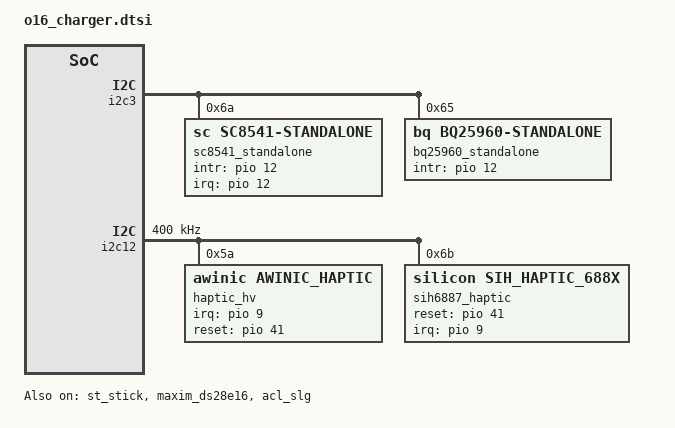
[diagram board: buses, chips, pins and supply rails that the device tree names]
&i2c3 {
    sc8541_standalone: sc8541@6A{
        compatible = "sc,sc8541-standalone";
        #io-channel-cells = <1>;
        reg = <0x6A>;

		interrupt-parent = <&pio>;
		interrupts = <12 0>;
		sc8541,intr_gpio = <&pio 12 IRQ_TYPE_EDGE_FALLING>;

		charger_name = "primary_dvchg";
		charger_name_v4_19 = "primary_divider_chg";
		sc,sc8541,vbat-ovp-dis = <0>;
		sc,sc8541,vbat-ovp = <90>; /*3840 + val * 10*/
		sc,sc8541,vbat-ovp-alm-dis = <1>;
		sc,sc8541,vbat-ovp-alm = <70>; /*3840 + val * 10*/
		sc,sc8541,ibat-ocp-dis = <0>;
		sc,sc8541,ibat-ocp  = <127>; /*val * 100*/
		sc,sc8541,ibat-ocp-alm-dis = <1>;
		sc,sc8541,ibat-ocp-alm = <80>; /*val * 100*/
		sc,sc8541,ibus-ucp-dis = <0>;
		sc,sc8541,vbus-in-range-dis = <0>;
		sc,sc8541,vbus-pd-en = <0>;
		sc,sc8541,vbus-ovp = <100>; /*7000 + val * 50*/
		sc,sc8541,vbus-ovp-alm-dis = <1>;
		sc,sc8541,vbus-ovp-alm = <100>; /*7000 + val * 50*/
		sc,sc8541,ibus-ocp-dis = <0>;
		sc,sc8541,ibus-ocp = <21>; /*1000 + val * 250*/
		sc,sc8541,tshut-dis = <1>;
		sc,sc8541,tsbus-flt-dis = <1>;
		sc,sc8541,tsbat-flt-dis = <1>;
		sc,sc8541,tdie-alm = <200>; /*25 + val * 0.5*/
		sc,sc8541,tsbus-flt = <21>;
		sc,sc8541,tsbat-flt = <21>;
		sc,sc8541,vac1-ovp = <3>; /*0:6.5V 1:10.5V 2:12V 3:14V 4:16V 5~7:18V*/
		sc,sc8541,vac2-ovp = <3>; /*0:6.5V 1:10.5V 2:12V 3:14V 4:16V 5~7:18V*/
		sc,sc8541,vac1-pd-en = <0>;
		sc,sc8541,vac2-pd-en = <0>;
		sc,sc8541,fsw-set = <4>; /*0:200KHz 1:300KHz 2:400KHz
				3:500KHz 4:600KHz 5:650KHz 6:700KHz 7:750KHz*/
		sc,sc8541,wd-timeout = <0>; /*0:0.5s 1:1s 2:5s 3:30s*/
		sc,sc8541,wd-timeout-dis = <1>;
		sc,sc8541,ibat-sns-r = <0>; /*0:2mho 1:5mho*/
		sc,sc8541,ss-timeout = <7>; /*0:6.25ms 1:12.5ms 2:25ms 3:50ms
				4:100ms 5:400ms 6:1.5s 7:10s*/
		sc,sc8541,ibus-ucp-fall-dg = <1>;
		sc,sc8541,vout-ovp-dis = <0>;
		sc,sc8541,vout-ovp = <3>; /*4700 + val * 100*/
		sc,sc8541,pmid2out-uvp = <7>; /*50 + val * 25*/
		sc,sc8541,pmid2out-ovp = <7>; /*200 + val * 50*/
    };

    bq25960_standalone: bq25960@65 {
        compatible = "bq,bq25960-standalone";
        #io-channel-cells = <1>;
        status = "ok";
        reg = <0x65>;

        bq25960,intr_gpio = <&pio 12 IRQ_TYPE_EDGE_FALLING>;

        charger_name = "primary_dvchg";
        bq,bq25960,vbat-ovp-dis = <0>;
        bq,bq25960,vbat-ovp = <127>; /*3500 + val * 10*/
        bq,bq25960,vbat-ovp-alm-dis = <1>;
        bq,bq25960,vbat-ovp-alm = <122>; /*3500 + val * 10*/
        bq,bq25960,ibat-ocp-dis = <0>;
        bq,bq25960,ibat-ocp  = <65>; /*2000 + val * 100*/
        bq,bq25960,ibat-ocp-alm-dis = <1>;
        bq,bq25960,ibat-ocp-alm = <65>; /*2000 + val * 100*/
        bq,bq25960,ibus-ucp-dis = <0>;
        bq,bq25960,ibus-ucp = <0>;
        bq,bq25960,chg-config-2 = <0>;
        bq,bq25960,vbus-pd-en = <0>;
        bq,bq25960,vbus-ovp = <100>; /*7000 + val * 50*/
        bq,bq25960,vbus-ovp-alm-dis = <1>;
        bq,bq25960,vbus-ovp-alm = <100>; /*7000 + val * 50*/
        /*bq,bq25960,ibus-ocp-dis = <0>;*/
        bq,bq25960,ibus-ocp = <21>; /*1000 + val * 250*/
        /*bq,bq25960,tshut-dis = <1>;*/
        bq,bq25960,tsbus-flt-dis = <1>;
        bq,bq25960,tsbat-flt-dis = <1>;
        bq,bq25960,tdie-alm = <200>; /*25 + val * 0.5*/
        bq,bq25960,tsbus-flt = <21>;
        bq,bq25960,tsbat-flt = <21>;
        bq,bq25960,vac1-ovp = <3>; /*0:6.5V 1:10.5V 2:12V 3:14V 4:16V 5~7:18V*/
        bq,bq25960,vac2-ovp = <3>; /*0:6.5V 1:10.5V 2:12V 3:14V 4:16V 5~7:18V*/
        bq,bq25960,vac1-pd-en = <0>;
        bq,bq25960,vac2-pd-en = <0>;
        bq,bq25960,fsw-set = <4>; /*0:187.5KHz 1:250KHz 2:300KHz
                                    3:375KHz 4:500KHz 5:750KHz */
        bq,bq25960,wd-timeout = <0>; /*0:0.5s 1:1s 2:5s 3:30s*/
        bq,bq25960,wd-timeout-dis = <1>;
        bq,bq25960,ibat-sns-r = <0>; /*0:2mho 1:5mho*/
        bq,bq25960,ss-timeout = <7>; /*0:6.25ms 1:12.5ms 2:25ms 3:50ms
                4:100ms 5:400ms 6:1.5s 7:10s*/
        bq,bq25960,ibus-ucp-fall-dg = <1>; /*0:0.01ms, 1:5ms, 2:50ms, 3:150ms*/
        bq,bq25960,vout-ovp-dis = <0>;
        bq,bq25960,ms = <0>;
        bq,bq25960,vout-ovp = <3>; /*4700 + val * 100*/
        /*bq,bq25960,pmid2out-uvp = <7>;*/ /*50 + val * 25*/
        /*bq,bq25960,pmid2out-ovp = <7>; */ /*150 + val * 50*/
    };

};

&pe {
	compatible = "mediatek,charger,pe";
    status = "disabled";
};

&pe2 {
    compatible = "mediatek,charger,pe2";
    status = "disabled";
};

&pdc {
    compatible = "mediatek,charger,pd";
    status = "disabled";
};

&pe45 {
    compatible = "mediatek,charger,pe45";
    status = "disabled";
};

&pe5 {
    compatible = "mediatek,charger,pe5";
    status = "disabled";
};

&pe5p {
    compatible = "mediatek,charger,pe5p";
    status = "disabled";
};

&charger {
		max_charger_voltage = <11000000>;
		fv = <4500>;
		fv_normal = <4480>;
		fv_ffc = <4530>;
		iterm = <250>;
		iterm_warm = <250>;
		iterm_warm_cn = <270>;
		/* charging current */
		usb_charger_current = <500000>;
		ac_charger_current = <1600000>;
		ac_charger_input_current = <1600000>;
		charging_host_charger_current = <1500000>;
		ffc_low_tbat = <150>;
		ffc_medium_tbat = <300>;
		ffc_warm_tbat = <350>;
		ffc_little_high_tbat = <400>;
		ffc_high_tbat = <450>;
		ffc_high_soc = <90>;
		step_fallback_hyst = <25>;
		step_forward_hyst = <5>;
		jeita_fallback_hyst = <10>;
		jeita_forward_hyst = <0>;
		mt6369_moscon1_control;
		en_floatgnd;
		rust_support;

		min_charger_voltage_1 = <4600000>;
		min_charger_voltage_2 = <4500000>;

		/* battery temperature protection */
		//enable-min-charge-temp;
		min-charge-temp = <(-10)>;
		min-charge-temp-plus-x-degree = <(-8)>;
		max-charge-temp = <58>;
		max-charge-temp-minus-x-degree = <56>;

		jeita_fcc_cfg_gl = <(-100)	(-1)	4500	503	503
				0	49	4150	1006	1006
				50	99	4150	2515	2515
				100	149	4150	4024	4024
				150	449	4150	8000	5400
				450	599	4100	2515	2515>;
		jeita_fcc_cfg_cn = <(-100)	(-1)	4500	542	542
				0	49	4150	1084	1084
				50	99	4150	2660	2660
				100	149	4150	4286	4286
				150	449	4150	7950	5400
				450	599	4100	2710	2710>;
		jeita_fv_cfg = <(-100)	(-1)	4500
				0	49	4500
				50	99	4500
				100	149	4500
				150	449	4530
				450	599	4100>;
		/* 1-100cls */
		step_chg_cfg_1_cycle = <3000	4150	8000
					4151	4300	6000
					4301	4500	5400
					4501	4530	4336>;
		step_chg_cfg_1_cycle_gl = <3000	4150	8000
					4151	4300	6000
					4301	4500	5400
					4501	4530	4024>;
		iterm_ffc_1_cycle_0 = <758>;
		iterm_ffc_little_warm_1_cycle_0 = <1084>;
		iterm_ffc_warm_1_cycle_0 = <1219>;
		iterm_ffc_hot_1_cycle_0 = <1355>;
		iterm_ffc_1_cycle_1 = <867>;
		iterm_ffc_little_warm_1_cycle_1 = <1246>;
		iterm_ffc_warm_1_cycle_1 = <1490>;
		iterm_ffc_hot_1_cycle_1 = <1734>;
		iterm_ffc_1_cycle_2 = <754>;
		iterm_ffc_little_warm_1_cycle_2 = <1157>;
		iterm_ffc_warm_1_cycle_2 = <1257>;
		iterm_ffc_hot_1_cycle_2 = <1358>;
		iterm_ffc_1_cycle_3 = <855>;
		iterm_ffc_little_warm_1_cycle_3 = <1258>;
		iterm_ffc_warm_1_cycle_3 = <1458>;
		iterm_ffc_hot_1_cycle_3 = <1659>;
		/* 100-200cls */
		step_chg_cfg_100_cycle = <3000	4100	8000
					4101	4250	6000
					4251	4450	5400
					4451	4530	4336>;
		step_chg_cfg_100_cycle_gl = <3000	4100	8000
					4101	4250	6000
					4251	4450	5400
					4451	4530	4024>;
		iterm_ffc_100_cycle_0 = <758>;
		iterm_ffc_little_warm_100_cycle_0 = <921>;
		iterm_ffc_warm_100_cycle_0 = <1138>;
		iterm_ffc_hot_100_cycle_0 = <1355>;
		iterm_ffc_100_cycle_1 = <1084>;
		iterm_ffc_little_warm_100_cycle_1 = <1246>;
		iterm_ffc_warm_100_cycle_1 = <1490>;
		iterm_ffc_hot_100_cycle_1 = <1734>;
		iterm_ffc_100_cycle_2 = <804>;
		iterm_ffc_little_warm_100_cycle_2 = <1006>;
		iterm_ffc_warm_100_cycle_2 = <1182>;
		iterm_ffc_hot_100_cycle_2 = <1358>;
		iterm_ffc_100_cycle_3 = <1056>;
		iterm_ffc_little_warm_100_cycle_3 = <1258>;
		iterm_ffc_warm_100_cycle_3 = <1458>;
		iterm_ffc_hot_100_cycle_3 = <1659>;
		/* 200-300cls */
		step_chg_cfg_200_cycle = <3000	4100	8000
					4101	4250	6000
					4251	4450	5400
					4451	4530	4336>;
		step_chg_cfg_200_cycle_gl = <3000	4100	8000
					4101	4250	6000
					4251	4450	5400
					4451	4530	4024>;
		iterm_ffc_200_cycle_0 = <704>;
		iterm_ffc_little_warm_200_cycle_0 = <813>;
		iterm_ffc_warm_200_cycle_0 = <975>;
		iterm_ffc_hot_200_cycle_0 = <1138>;
		iterm_ffc_200_cycle_1 = <1030>;
		iterm_ffc_little_warm_200_cycle_1 = <1084>;
		iterm_ffc_warm_200_cycle_1 = <1327>;
		iterm_ffc_hot_200_cycle_1 = <1571>;
		iterm_ffc_200_cycle_2 = <704>;
		iterm_ffc_little_warm_200_cycle_2 = <855>;
		iterm_ffc_warm_200_cycle_2 = <980>;
		iterm_ffc_hot_200_cycle_2 = <1106>;
		iterm_ffc_200_cycle_3 = <905>;
		iterm_ffc_little_warm_200_cycle_3 = <1107>;
		iterm_ffc_warm_200_cycle_3 = <1358>;
		iterm_ffc_hot_200_cycle_3 = <1610>;
		/* 300-400cls */
		step_chg_cfg_300_cycle = <3000	4070	8000
					4071	4220	6000
					4221	4420	5400
					4421	4530	4336>;
		step_chg_cfg_300_cycle_gl = <3000	4070	8000
					4071	4220	6000
					4221	4420	5400
					4421	4530	4024>;
		iterm_ffc_300_cycle_0 = <650>;
		iterm_ffc_little_warm_300_cycle_0 = <758>;
		iterm_ffc_warm_300_cycle_0 = <948>;
		iterm_ffc_hot_300_cycle_0 = <1138>;
		iterm_ffc_300_cycle_1 = <867>;
		iterm_ffc_little_warm_300_cycle_1 = <1084>;
		iterm_ffc_warm_300_cycle_1 = <1327>;
		iterm_ffc_hot_300_cycle_1 = <1571>;
		iterm_ffc_300_cycle_2 = <653>;
		iterm_ffc_little_warm_300_cycle_2 = <804>;
		iterm_ffc_warm_300_cycle_2 = <955>;
		iterm_ffc_hot_300_cycle_2 = <1106>;
		iterm_ffc_300_cycle_3 = <805>;
		iterm_ffc_little_warm_300_cycle_3 = <1056>;
		iterm_ffc_warm_300_cycle_3 = <1333>;
		iterm_ffc_hot_300_cycle_3 = <1610>;
		/* 400-500cls */
		step_chg_cfg_400_cycle = <3000	4070	8000
					4071	4220	6000
					4221	4420	5400
					4421	4530	4336>;
		step_chg_cfg_400_cycle_gl = <3000	4070	8000
					4071	4220	6000
					4221	4420	5400
					4421	4530	4024>;
		iterm_ffc_400_cycle_0 = <596>;
		iterm_ffc_little_warm_400_cycle_0 = <704>;
		iterm_ffc_warm_400_cycle_0 = <840>;
		iterm_ffc_hot_400_cycle_0 = <1192>;
		iterm_ffc_400_cycle_1 = <813>;
		iterm_ffc_little_warm_400_cycle_1 = <976>;
		iterm_ffc_warm_400_cycle_1 = <1247>;
		iterm_ffc_hot_400_cycle_1 = <1680>;
		iterm_ffc_400_cycle_2 = <603>;
		iterm_ffc_little_warm_400_cycle_2 = <754>;
		iterm_ffc_warm_400_cycle_2 = <855>;
		iterm_ffc_hot_400_cycle_2 = <1207>;
		iterm_ffc_400_cycle_3 = <754>;
		iterm_ffc_little_warm_400_cycle_3 = <1006>;
		iterm_ffc_warm_400_cycle_3 = <1182>;
		iterm_ffc_hot_400_cycle_3 = <1459>;
		/* 500-600cls */
		step_chg_cfg_500_cycle = <3000	4070	8000
					4071	4220	6000
					4221	4420	5400
					4421	4530	4336>;
		step_chg_cfg_500_cycle_gl = <3000	4070	8000
					4071	4220	6000
					4221	4420	5400
					4421	4530	4024>;
		iterm_ffc_500_cycle_0 = <596>;
		iterm_ffc_little_warm_500_cycle_0 = <650>;
		iterm_ffc_warm_500_cycle_0 = <813>;
		iterm_ffc_hot_500_cycle_0 = <1355>;
		iterm_ffc_500_cycle_1 = <758>;
		iterm_ffc_little_warm_500_cycle_1 = <921>;
		iterm_ffc_warm_500_cycle_1 = <1219>;
		iterm_ffc_hot_500_cycle_1 = <1734>;
		iterm_ffc_500_cycle_2 = <553>;
		iterm_ffc_little_warm_500_cycle_2 = <704>;
		iterm_ffc_warm_500_cycle_2 = <829>;
		iterm_ffc_hot_500_cycle_2 = <1358>;
		iterm_ffc_500_cycle_3 = <704>;
		iterm_ffc_little_warm_500_cycle_3 = <955>;
		iterm_ffc_warm_500_cycle_3 = <1156>;
		iterm_ffc_hot_500_cycle_3 = <1659>;
		/* 600-700cls */
		step_chg_cfg_600_cycle = <3000	4070	8000
					4071	4220	6000
					4221	4420	5400
					4421	4530	4336>;
		step_chg_cfg_600_cycle_gl = <3000	4070	8000
					4071	4220	6000
					4221	4420	5400
					4421	4530	4024>;
		iterm_ffc_600_cycle_0 = <542>;
		iterm_ffc_little_warm_600_cycle_0 = <650>;
		iterm_ffc_warm_600_cycle_0 = <1029>;
		iterm_ffc_hot_600_cycle_0 = <1355>;
		iterm_ffc_600_cycle_1 = <704>;
		iterm_ffc_little_warm_600_cycle_1 = <867>;
		iterm_ffc_warm_600_cycle_1 = <1327>;
		iterm_ffc_hot_600_cycle_1 = <1734>;
		iterm_ffc_600_cycle_2 = <511>;
		iterm_ffc_little_warm_600_cycle_2 = <704>;
		iterm_ffc_warm_600_cycle_2 = <1081>;
		iterm_ffc_hot_600_cycle_2 = <1358>;
		iterm_ffc_600_cycle_3 = <653>;
		iterm_ffc_little_warm_600_cycle_3 = <905>;
		iterm_ffc_warm_600_cycle_3 = <1232>;
		iterm_ffc_hot_600_cycle_3 = <1659>;
		/* 700-800cls */
		step_chg_cfg_700_cycle = <3000	4070	8000
					4071	4220	6000
					4221	4420	5400
					4421	4530	4336>;
		step_chg_cfg_700_cycle_gl = <3000	4070	8000
					4071	4220	6000
					4221	4420	5400
					4421	4530	4024>;
		iterm_ffc_700_cycle_0 = <542>;
		iterm_ffc_little_warm_700_cycle_0 = <596>;
		iterm_ffc_warm_700_cycle_0 = <1219>;
		iterm_ffc_hot_700_cycle_0 = <1355>;
		iterm_ffc_700_cycle_1 = <704>;
		iterm_ffc_little_warm_700_cycle_1 = <867>;
		iterm_ffc_warm_700_cycle_1 = <1490>;
		iterm_ffc_hot_700_cycle_1 = <1734>;
		iterm_ffc_700_cycle_2 = <511>;
		iterm_ffc_little_warm_700_cycle_2 = <653>;
		iterm_ffc_warm_700_cycle_2 = <1257>;
		iterm_ffc_hot_700_cycle_2 = <1358>;
		iterm_ffc_700_cycle_3 = <653>;
		iterm_ffc_little_warm_700_cycle_3 = <905>;
		iterm_ffc_warm_700_cycle_3 = <1458>;
		iterm_ffc_hot_700_cycle_3 = <1659>;
		/* 800-900cls */
		step_chg_cfg_800_cycle = <3000	4050	6400
					4051	4200	4800
					4201	4400	4320
					4401	4530	3648>;
		step_chg_cfg_800_cycle_gl = <3000	4050	6400
					4051	4200	4800
					4201	4400	4320
					4401	4530	3219>;
		iterm_ffc_800_cycle_0 = <487>;
		iterm_ffc_little_warm_800_cycle_0 = <596>;
		iterm_ffc_warm_800_cycle_0 = <1219>;
		iterm_ffc_hot_800_cycle_0 = <1355>;
		iterm_ffc_800_cycle_1 = <650>;
		iterm_ffc_little_warm_800_cycle_1 = <813>;
		iterm_ffc_warm_800_cycle_1 = <1490>;
		iterm_ffc_hot_800_cycle_1 = <1734>;
		iterm_ffc_800_cycle_2 = <460>;
		iterm_ffc_little_warm_800_cycle_2 = <653>;
		iterm_ffc_warm_800_cycle_2 = <1257>;
		iterm_ffc_hot_800_cycle_2 = <1358>;
		iterm_ffc_800_cycle_3 = <603>;
		iterm_ffc_little_warm_800_cycle_3 = <855>;
		iterm_ffc_warm_800_cycle_3 = <1458>;
		iterm_ffc_hot_800_cycle_3 = <1659>;
		/* 900-1000cls */
		step_chg_cfg_900_cycle = <3000	4050	6400
					4051	4200	4800
					4201	4400	4320
					4401	4530	3648>;
		step_chg_cfg_900_cycle_gl = <3000	4050	6400
					4051	4200	4800
					4201	4400	4320
					4401	4530	3219>;
		iterm_ffc_900_cycle_0 = <487>;
		iterm_ffc_little_warm_900_cycle_0 = <596>;
		iterm_ffc_warm_900_cycle_0 = <1219>;
		iterm_ffc_hot_900_cycle_0 = <1355>;
		iterm_ffc_900_cycle_1 = <650>;
		iterm_ffc_little_warm_900_cycle_1 = <813>;
		iterm_ffc_warm_900_cycle_1 = <1490>;
		iterm_ffc_hot_900_cycle_1 = <1734>;
		iterm_ffc_900_cycle_2 = <460>;
		iterm_ffc_little_warm_900_cycle_2 = <653>;
		iterm_ffc_warm_900_cycle_2 = <1257>;
		iterm_ffc_hot_900_cycle_2 = <1358>;
		iterm_ffc_900_cycle_3 = <603>;
		iterm_ffc_little_warm_900_cycle_3 = <855>;
		iterm_ffc_warm_900_cycle_3 = <1458>;
		iterm_ffc_hot_900_cycle_3 = <1659>;
		/* 1000-1100cls */
		step_chg_cfg_1000_cycle = <3000	4050	6400
					4051	4200	4800
					4201	4400	4320
					4401	4530	3648>;
		step_chg_cfg_1000_cycle_gl = <3000	4050	6400
					4051	4200	4800
					4201	4400	4320
					4401	4530	3219>;
		iterm_ffc_1000_cycle_0 = <542>;
		iterm_ffc_little_warm_1000_cycle_0 = <758>;
		iterm_ffc_warm_1000_cycle_0 = <1219>;
		iterm_ffc_hot_1000_cycle_0 = <1355>;
		iterm_ffc_1000_cycle_1 = <704>;
		iterm_ffc_little_warm_1000_cycle_1 = <921>;
		iterm_ffc_warm_1000_cycle_1 = <1490>;
		iterm_ffc_hot_1000_cycle_1 = <1734>;
		iterm_ffc_1000_cycle_2 = <511>;
		iterm_ffc_little_warm_1000_cycle_2 = <754>;
		iterm_ffc_warm_1000_cycle_2 = <1257>;
		iterm_ffc_hot_1000_cycle_2 = <1358>;
		iterm_ffc_1000_cycle_3 = <653>;
		iterm_ffc_little_warm_1000_cycle_3 = <955>;
		iterm_ffc_warm_1000_cycle_3 = <1458>;
		iterm_ffc_hot_1000_cycle_3 = <1659>;
		/* 1100-1200cls */
		step_chg_cfg_1100_cycle = <3000	4050	6400
					4051	4200	4800
					4201	4400	4320
					4401	4530	3648>;
		step_chg_cfg_1100_cycle_gl = <3000	4050	6400
					4051	4200	4800
					4201	4400	4320
					4401	4530	3219>;
		iterm_ffc_1100_cycle_0 = <650>;
		iterm_ffc_little_warm_1100_cycle_0 = <867>;
		iterm_ffc_warm_1100_cycle_0 = <1219>;
		iterm_ffc_hot_1100_cycle_0 = <1355>;
		iterm_ffc_1100_cycle_1 = <758>;
		iterm_ffc_little_warm_1100_cycle_1 = <1084>;
		iterm_ffc_warm_1100_cycle_1 = <1490>;
		iterm_ffc_hot_1100_cycle_1 = <1734>;
		iterm_ffc_1100_cycle_2 = <603>;
		iterm_ffc_little_warm_1100_cycle_2 = <955>;
		iterm_ffc_warm_1100_cycle_2 = <1257>;
		iterm_ffc_hot_1100_cycle_2 = <1358>;
		iterm_ffc_1100_cycle_3 = <754>;
		iterm_ffc_little_warm_1100_cycle_3 = <1006>;
		iterm_ffc_warm_1100_cycle_3 = <1458>;
		iterm_ffc_hot_1100_cycle_3 = <1659>;

		/* 1200cls->> */
		step_chg_cfg_1200_cycle = <3000	4050	6400
					4051	4200	4800
					4201	4400	4320
					4401	4530	3648>;
		step_chg_cfg_1200_cycle_gl = <3000	4050	6400
					4051	4200	4800
					4201	4400	4320
					4401	4530	3219>;
		iterm_ffc_1200_cycle_0 = <758>;
		iterm_ffc_little_warm_1200_cycle_0 = <1084>;
		iterm_ffc_warm_1200_cycle_0 = <1219>;
		iterm_ffc_hot_1200_cycle_0 = <1355>;
		iterm_ffc_1200_cycle_1 = <867>;
		iterm_ffc_little_warm_1200_cycle_1 = <1246>;
		iterm_ffc_warm_1200_cycle_1 = <1490>;
		iterm_ffc_hot_1200_cycle_1 = <1734>;
		iterm_ffc_1200_cycle_2 = <754>;
		iterm_ffc_little_warm_1200_cycle_2 = <1157>;
		iterm_ffc_warm_1200_cycle_2 = <1257>;
		iterm_ffc_hot_1200_cycle_2 = <1358>;
		iterm_ffc_1200_cycle_3 = <855>;
		iterm_ffc_little_warm_1200_cycle_3 = <1258>;
		iterm_ffc_warm_1200_cycle_3 = <1458>;
		iterm_ffc_hot_1200_cycle_3 = <1659>;

		thermal_limit_dcp = <8000 7800 7600 7400 7200 7000
                		     6800 6600 6400 6200 6000 5800
                                     5600 5400 5200 5000 4800 4600
                                     4400 4200 4000 3800 3600 3400
                                     3200 3000 2800 2600 2400 2200
                                     2000 1800 1600 1400 1000 500>;
		thermal_limit_qc2 = <8000 7800 7600 7400 7200 7000
                		     6800 6600 6400 6200 6000 5800
                                     5600 5400 5200 5000 4800 4600
                                     4400 4200 4000 3800 3600 3400
                                     3200 3000 2800 2600 2400 2200
                                     2000 1800 1600 1400 1000 500>;
		thermal_limit_qc3_18w = <8000 7800 7600 7400 7200 7000
                		     6800 6600 6400 6200 6000 5800
                                     5600 5400 5200 5000 4800 4600
                                     4400 4200 4000 3800 3600 3400
                                     3200 3000 2800 2600 2400 2200
                                     2000 1800 1600 1400 1000 500>;
		thermal_limit_qc3_27w = <8000 7800 7600 7400 7200 7000
                		     6800 6600 6400 6200 6000 5800
                                     5600 5400 5200 5000 4800 4600
                                     4400 4200 4000 3800 3600 3400
                                     3200 3000 2800 2600 2400 2200
                                     2000 1800 1600 1400 1000 500>;
		thermal_limit_qc35 = <8000 7800 7600 7400 7200 7000
                		     6800 6600 6400 6200 6000 5800
                                     5600 5400 5200 5000 4800 4600
                                     4400 4200 4000 3800 3600 3400
                                     3200 3000 2800 2600 2400 2200
                                     2000 1800 1600 1400 1000 500>;
		thermal_limit_pd = <8000 7800 7600 7400 7200 7000
                		     6800 6600 6400 6200 6000 5800
                                     5600 5400 5200 5000 4800 4600
                                     4400 4200 4000 3800 3600 3400
                                     3200 3000 2800 2600 2400 2200
                                     2000 1800 1600 1400 1000 500>;
		smart_chg_lowfast_thermal = <320  330  340  350  360  370  380  390  395  400  410  420  425  430  440  450>;
		smart_chg_lowfast_current = <8000 8000 7000 7000 7000 7000 6000 6000 6000 5400 4600 4600 3600 3000 3000 3000>;
};

&pd_cp_manager {
		compatible = "pd_cp_manager";
		fv = <4492>;
		fv_ffc = <4542>;
		max_fcc = <7700>;
		max_vbus = <11000>;
		max_ibus = <4100>;
		fcc_low_hyst = <150>;
		fcc_high_hyst = <(-100)>;
		low_tbat = <100>;
		high_tbat = <480>;
		high_vbat = <4400>;
		high_soc = <95>;
		low_fcc = <2000>;
		cv_vbat = <4480>;
		cv_vbat_ffc = <4510>;
		cv_ibat = <1200>;
		min_pdo_vbus = <8000>;
		max_pdo_vbus = <11000>;
		//mt6375_control_gpio = <&pio 215 0x0>;
		//support_4_1_mode;
		switch1_1_enter = <2600>;
		switch1_1_exit = <3600>;
		switch2_1_enter = <6000>;
		switch2_1_exit = <7000>;
		pdm_ibus_gap = <600>;
};

&mt6375_typec {
	tcpc,en_floatgnd;
	/* 0:16x, 1:128x, 2:512x, 3:1024x */
	wd,wd0_tsleep = <1>;
	/* 0:400us, 1:1ms, 2:2ms, 3:4ms, 4:10ms, 5:40ms, 6:100ms, 7:400ms */
	wd,wd0_tdet = <3>;
	/* example wd0_tsleep = 512x, wd0_tdet = 4ms, wd0 polling time = 512*4ms */
};

	/* SI Haptic */
&pio {
		sih_reset_low: sih_reset_reset {
			pins_cmd_dat {
				pinmux = <PINMUX_GPIO41__FUNC_GPIO41>;
				drive-strength = <2>;
				bias-disable;
				output-low;
			};
		};
		sih_reset_high: sih_reset_active {
			pins_cmd_dat {
				pinmux = <PINMUX_GPIO41__FUNC_GPIO41>;
				drive-strength = <2>;
				bias-disable;
				output-high;
			};
		};
		sih_interrupt: sih_interrupt_active {
			pins_cmd_dat {
				pinmux = <PINMUX_GPIO9__FUNC_GPIO9>;
				drive-strength = <2>;
				bias-pull-up;
				input-enable;
			};
		};
};

/***************************awinic start******************************/
&i2c12 {
	clock-frequency = <400000>;
	status = "ok";
	haptic_hv@5A {
		compatible = "awinic,awinic_haptic";
		reg = <0x5A>;
		irq-gpio = <&pio 9 0>;
		reset-gpio = <&pio 41 0>;
		pinctrl-names = "awinic_reset_reset","awinic_reset_active","awinic_interrupt_active";
		pinctrl-0 = <&awinic_reset_low>;
		pinctrl-1 = <&awinic_reset_high>;
		pinctrl-2 = <&awinic_interrupt>;
		status = "okay";
/*----------------------aw8692x----------------------*/
		aw86927_vib_mode = < 0 >; /* mode: RAM mode->0; CONT mode->1 */
		aw86927_vib_f0_pre = < 1700 >;
		aw86927_comp_gain_temp = < 182 >;
		aw86927_vib_f0_cali_percen = < 7 >;
		aw86927_vib_cont_drv1_lvl = < 0x7F >;
		aw86927_vib_cont_drv2_lvl = < 0x36 >;
		aw86927_vib_cont_drv1_time = < 0x04 >;
		aw86927_vib_cont_drv2_time = < 0x06 >;
		aw86927_vib_cont_drv_width = < 0x6A >;
		aw86927_vib_cont_wait_num = < 0x06 >;
		aw86927_vib_cont_brk_time = < 0x08 >;
		aw86927_vib_cont_track_margin = < 0x0C >;
		aw86927_vib_brk_bst_md = < 0 >;
		aw86927_vib_cont_tset = < 0x06 >;
		aw86927_vib_cont_bemf_set = < 0x02 >;
		aw86927_vib_cont_bst_brk_gain = < 0x05 >;
		aw86927_vib_cont_brk_gain = < 0x08 >;
		aw86927_vib_d2s_gain = < 0x04 >;
		aw86927_vib_trig_config = < 1 0 1 1 1 2 0 0
					    1 0 0 1 0 2 0 0
					    1 0 0 1 0 2 0 0 >;
		aw86927_vib_bst_vol_default = < 0x57 >;
		aw86927_vib_bst_vol_ram = < 0x57 >;
		aw86927_vib_bst_vol_rtp = < 0x57 >;
		/*--------------------common--------------------*/
		vib_effect_id_boundary = < 10 >;
		vib_effect_max = < 197 >; /*vib_effect_max must bigger than vib_effect_id*/
		vib_rtp_time = < 20 20 20 20 20 20 20 20 20000 15000
				15000 20000 25000 15000 30000 25000 20000 20000 20000 20000
				20000 20000 20000 20000 20000 20000 20000 20000 20000 20000
				20000 20000 20000 20000 20000 20000 20000 20000 20000 20000
				20000 20000 20000 20000 20000 20000 20000 20000 20000 20000
				20000 20000 20000 20000 20000 20000 20000 20000 20000 20000
				20000 20000 20000 20000 20000 20000 20000 20000 20000 20000
				20000 20000 20000 20000 20000 20000 20000 20000 20000 20000
				20000 20000 20000 20000 20000 20000 20000 20000 20000 20000
				20000 20000 20000 20000 20000 20000 20000 20000 20000 20000
				20000 20000 20000 20000 20000 20000 20000 20000 20000 20000
				20000 20000 20000 20000 20000 20000 20000 20000 20000 20000
				20000 20000 20000 20000 20000 20000 20000 20000 20000 20000
				20000 20000 20000 20000 20000 20000 20000 20000 20000 20000
				20000 20000 20000 20000 20000 20000 20000 20000 20000 20000
				20000 20000 20000 20000 20000 20000 20000 20000 20000 20000
				20000 20000 20000 20000 20000 20000 20000 20000 20000 20000
				20000 20000 20000 20000 20000 >;
		wf_0 {
			/*CLICK*/
			mtk,effect-id = <0>;
			mtk,wf-vmax-mv = <3600>;
			mtk,wf-pattern = [3e 3e];
			mtk,wf-brake-pattern = [02 01 00 00];
			mtk,wf-play-rate-us = <20000>;
		};
		wf_1 {
			/*DOUBLE CLICK*/
			mtk,effect-id = <1>;
			mtk,wf-vmax-mv = <3600>;
			mtk,wf-pattern = [7e 3e];
			mtk,wf-brake-pattern = [03 01 00 00];
			mtk,wf-play-rate-us = <20000>;
		};
		wf_2 {
			/*TICK*/
			mtk,effect-id = <2>;
			mtk,wf-vmax-mv = <3600>;
			mtk,wf-pattern = [7e 3e];
			mtk,wf-brake-pattern = [02 01 00 00];
			mtk,wf-play-rate-us = <20000>;
		};
		wf_3 {
			/*THUD*/
			mtk,effect-id = <3>;
			mtk,wf-vmax-mv = <3600>;
			mtk,wf-pattern = [3e 3e];
			mtk,wf-brake-pattern = [02 01 00 00];
			mtk,wf-play-rate-us = <20000>;
		};
		wf_4 {
			/*POP*/
			mtk,effect-id = <4>;
			mtk,wf-vmax-mv = <3600>;
			mtk,wf-pattern = [3e 3e];
			mtk,wf-brake-pattern = [02 01 00 00];
			mtk,wf-play-rate-us = <28000>;
		};
		wf_5 {
			/*HEAVY CLICK*/
			mtk,effect-id = <5>;
			mtk,wf-vmax-mv = <3600>;
			mtk,wf-pattern = [7e 7e 7e];
			mtk,wf-brake-pattern = [03 03 01 00];
			mtk,wf-play-rate-us = <20000>;
		};
		wf_6 {
			/*id 6*/
			mtk,effect-id = <6>;
			mtk,wf-vmax-mv = <3600>;
			mtk,wf-pattern = [3e 3e];
			mtk,wf-brake-pattern = [02 01 00 00];
			mtk,wf-play-rate-us = <20000>;
		};
		wf_7 {
			/*id 7*/
			mtk,effect-id = <7>;
			mtk,wf-vmax-mv = <3600>;
			mtk,wf-pattern = [3e 3e];
			mtk,wf-brake-pattern = [02 01 00 00];
			mtk,wf-play-rate-us = <20000>;
		};
		wf_8 {
			/*id 8*/
			mtk,effect-id = <8>;
			mtk,wf-vmax-mv = <3600>;
			mtk,wf-pattern = [3e 3e];
			mtk,wf-brake-pattern = [02 01 00 00];
			mtk,wf-play-rate-us = <20000>;
		};
		wf_9 {
			/*id 9*/
			mtk,effect-id = <9>;
			mtk,wf-vmax-mv = <3600>;
			mtk,wf-pattern = [3e 3e];
			mtk,wf-brake-pattern = [02 01 00 00];
			mtk,wf-play-rate-us = <20000>;
		};
	};
	/* SI Haptic */
		/* SI Haptic */
	sih6887_haptic:sih6887_haptic@6B{
		compatible = "silicon,sih_haptic_688X";
		reg = <0x6B>;
		reset-gpio = <&pio 41 0>;
		irq-gpio = <&pio 9 0>;
		interrupt=<26 1>;
		pinctrl-names = "sih_reset_reset","sih_reset_active","sih_interrupt_active";
		pinctrl-0 = <&sih_reset_low>;
		pinctrl-1 = <&sih_reset_high>;
		pinctrl-2 = <&sih_interrupt>;
		lra_name = "0809";
		vib_effect_id_boundary = < 10 >;
		vib_effect_max = < 197 >;
		vib_f0_pre = < 1700 >;
		vib_bst_vol_default = < 85 >;
    };
	/* SI Haptic */
};

/* Awinic Haptic start */
&pio {
	awinic_reset_low: awinic_reset_reset {
		pins_cmd_dat {
			pinmux = <PINMUX_GPIO41__FUNC_GPIO41>;
			drive-strength = <2>;
			bias-disable;
			output-low;
		};
	};
	awinic_reset_high: awinic_reset_active {
		pins_cmd_dat {
			pinmux = <PINMUX_GPIO41__FUNC_GPIO41>;
			drive-strength = <2>;
			bias-disable;
			output-high;
		};
	};
	awinic_interrupt: awinic_interrupt_active {
		pins_cmd_dat {
			pinmux = <PINMUX_GPIO9__FUNC_GPIO9>;
			drive-strength = <2>;
			bias-pull-up;
			input-enable;
		};
	};
};

&regulator_vibrator {
	status = "disabled";
};

&pio {
	w1_pins: w1_pins {
		pins_cmd_dat {
			pinmux = <PINMUX_GPIO3__FUNC_GPIO3>;
			drive-strength = <7>;
			output-high;
		};
	};
};

&onewire_gpio {
	compatible = "xiaomi,onewire_gpio";
	gpios = <&pio 3 0x00>;
	vfp-supply = <&mt6369_vfp>;
	pinctrl-names = "default";
	pinctrl-0 = <&w1_pins>;
	status = "okay";
};

&st_stick {
	compatible = "st,stick";
	auth_name = "third_supplier";
	status = "okay";
};

&maxim_ds28e16 {
	compatible = "maxim,ds28e30";
	auth_name = "second_supplier";
	status = "okay";
};

&acl_slg {
	compatible = "acl,slg";
	auth_name = "main_supplier";
	status = "okay";
};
